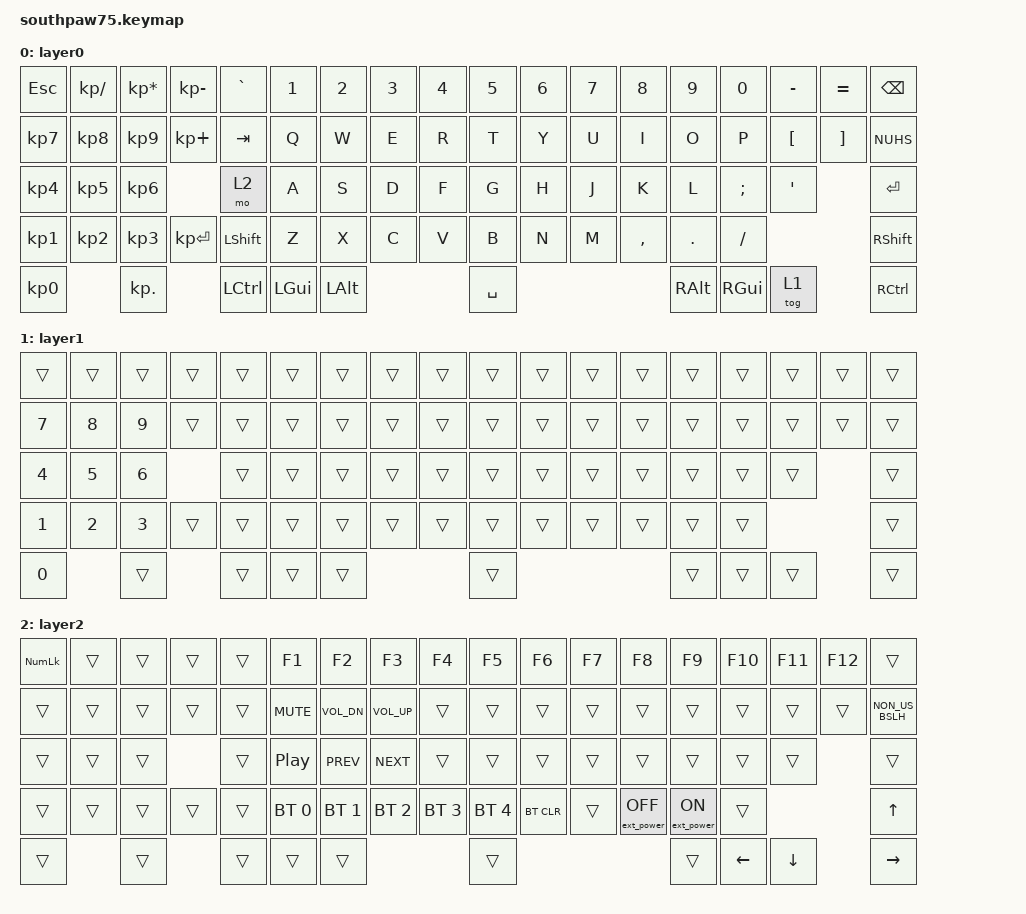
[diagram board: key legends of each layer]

  #include <behaviors.dtsi>
  #include <dt-bindings/zmk/keys.h>
  #include <dt-bindings/zmk/bt.h>
  #include <dt-bindings/zmk/ext_power.h>

  / {
    keymap {
      compatible = "zmk,keymap";
  layer0 {
          bindings = <
          &kp ESCAPE &kp KP_SLASH &kp KP_ASTERISK &kp KP_MINUS  &kp GRAVE  &kp N1   &kp N2 &kp N3 &kp N4 &kp N5 &kp N6 &kp N7 &kp N8    &kp N9   &kp N0   &kp MINUS &kp EQUAL &kp BACKSPACE 
          &kp KP_N7  &kp KP_N8    &kp KP_N9       &kp KP_PLUS   &kp TAB    &kp Q    &kp W  &kp E  &kp R  &kp T  &kp Y  &kp U  &kp I     &kp O    &kp P    &kp LBKT  &kp RBKT  &kp NUHS 
          &kp KP_N4  &kp KP_N5    &kp KP_N6                     &mo 2      &kp A    &kp S  &kp D  &kp F  &kp G  &kp H  &kp J  &kp K     &kp L    &kp SEMI &kp SQT             &kp ENTER 
          &kp KP_N1  &kp KP_N2    &kp KP_N3       &kp KP_ENTER  &kp LSHIFT &kp Z    &kp X  &kp C  &kp V  &kp B  &kp N  &kp M  &kp COMMA &kp DOT  &kp SLASH                    &kp RSHIFT 
          &kp KP_N0               &kp KP_DOT                    &kp LCTRL  &kp LGUI &kp LALT             &kp SPACE                      &kp RALT &kp RGUI &tog 1              &kp RCTRL
          >;
         };
  layer1 {
          bindings = <
          &trans &trans &trans &trans &trans &trans &trans &trans &trans &trans &trans &trans &trans &trans &trans &trans &trans &trans 
          &kp N7 &kp N8 &kp N9 &trans &trans &trans &trans &trans &trans &trans &trans &trans &trans &trans &trans &trans &trans &trans 
          &kp N4 &kp N5 &kp N6        &trans &trans &trans &trans &trans &trans &trans &trans &trans &trans &trans &trans        &trans 
          &kp N1 &kp N2 &kp N3 &trans &trans &trans &trans &trans &trans &trans &trans &trans &trans &trans &trans               &trans 
          &kp N0        &trans        &trans &trans &trans               &trans                      &trans &trans &trans        &trans
          >;
         };
  layer2 {
          bindings = <
          &kp KP_NUM &trans &trans &trans &trans &kp F1        &kp F2          &kp F3          &kp F4       &kp F5       &kp F6     &kp F7 &kp F8            &kp F9           &kp F10  &kp F11 &kp F12 &trans
          &trans     &trans &trans &trans &trans &kp C_MUTE    &kp C_VOL_DN    &kp C_VOL_UP    &trans       &trans       &trans     &trans &trans            &trans           &trans   &trans  &trans  &kp NON_US_BSLH 
          &trans     &trans &trans        &trans &kp C_PP      &kp C_PREV      &kp C_NEXT      &trans       &trans       &trans     &trans &trans            &trans           &trans   &trans          &trans 
          &trans     &trans &trans &trans &trans &bt BT_SEL 0  &bt BT_SEL 1    &bt BT_SEL 2    &bt BT_SEL 3 &bt BT_SEL 4 &bt BT_CLR &trans &ext_power EP_OFF &ext_power EP_ON &trans                   &kp UP 
          &trans            &trans        &trans &trans        &trans                                       &trans                                           &trans           &kp LEFT &kp DOWN        &kp RIGHT
          >;
         };
    };
  };
 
